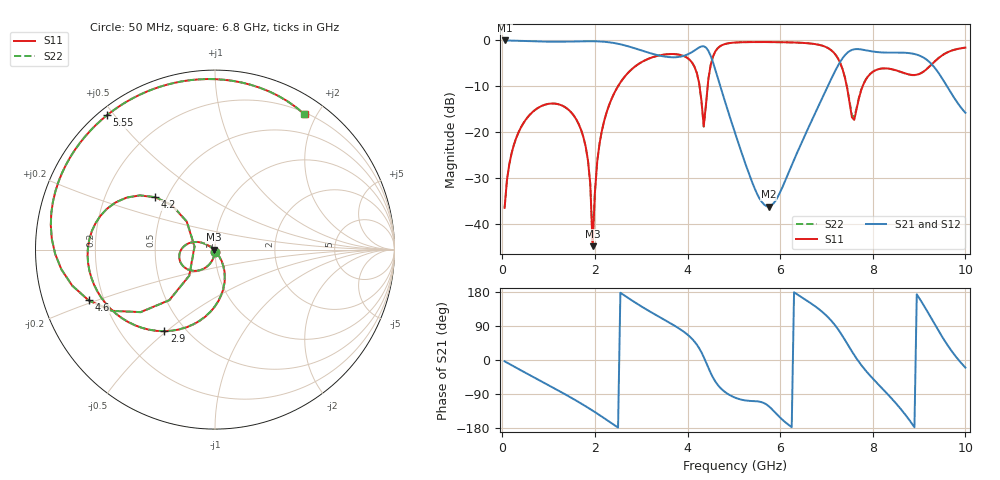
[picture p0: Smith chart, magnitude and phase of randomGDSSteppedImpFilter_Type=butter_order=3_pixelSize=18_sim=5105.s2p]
! freq	dB(S11)	phase(S11)	dB(S12)	phase(S12)
!  dB(S21)	phase(S21)	dB(S22)	phase(S22)
!S-par simulation data
#  GHz  S  DB  R 50
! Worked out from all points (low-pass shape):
!   200 points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, 50 MHz to 10 GHz, reference 50 ohm
!   highest |S21| = -0.01 dB at 50 MHz (marker M1); lowest = -36.2 dB at 5.75 GHz (marker M2)
!   |S21| within 3 dB of the highest: start of sweep to 3.274 GHz; 7.418 GHz to 8.917 GHz (1.499 GHz wide, 18.4 % of centre) (the widest 2 of 3)
!   lowest |S11| = -44.8 dB at 1.95 GHz (marker M3), VSWR 1.01, Z = 49.4 - j0.12 ohm
!   |S11| at or under -10 dB: start of sweep to 2.498 GHz; 4.26 GHz to 4.435 GHz (175.7 MHz wide, 4.04 % of centre); 7.438 GHz to 7.782 GHz (343.5 MHz wide, 4.51 % of centre)
!   |S22| runs from -43.9 to -0.3 dB; largest |S21 - S12| = 0
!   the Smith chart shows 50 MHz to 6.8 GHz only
!   S11 on the Smith chart (normalised r, x): 50 MHz: 1.00, -0.03; 2.9 GHz: 0.39, -0.49; 4.2 GHz: 0.43, +0.31; 4.6 GHz: 0.14, -0.19; 5.55 GHz: 0.02, +0.48; 6.8 GHz: 0.22, +1.84
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0.05  -36.50 -93.1  -0.01 -3.5  -0.01 -3.5  -36.50 -93.1
0.65  -15.64 -134.1  -0.18 -43.7  -0.18 -43.7  -15.64 -134.1
1.75  -21.03 153.2  -0.19 -118.3  -0.19 -118.3  -21.02 153.6
1.9  -31.30 148.1  -0.17 -129.6  -0.17 -129.6  -31.25 149.8
1.95  -44.85 -167.8  -0.18 -133.5  -0.18 -133.5  -43.86 -164.0
2.2  -17.53 -66.5  -0.29 -153.5  -0.29 -153.5  -17.53 -66.9
2.9  -5.43 -121.8  -1.84 149.3  -1.84 149.3  -5.43 -121.9
3.4  -3.24 -157.3  -3.32 113.0  -3.32 113.0  -3.24 -157.4
4.2  -7.08 138.8  -1.85 40.7  -1.85 40.7  -7.08 138.6
4.35  -18.74 171.7  -1.27 7.7  -1.27 7.7  -18.81 171.6
4.6  -2.40 -158.1  -6.37 -56.7  -6.37 -56.7  -2.40 -158.1
5.05  -0.44 156.6  -20.90 -100.4  -20.90 -100.4  -0.44 156.6
5.55  -0.35 128.7  -34.40 -109.8  -34.40 -109.8  -0.35 128.8
5.75  -0.36 118.7  -36.20 -121.6  -36.20 -121.6  -0.36 118.7
6.7  -0.72 64.2  -17.07 146.6  -17.07 146.6  -0.72 64.3
6.8  -0.88 56.5  -14.91 137.7  -14.91 137.7  -0.87 56.6
7.35  -6.36 -5.3  -3.84 62.7  -3.84 62.7  -6.31 -4.5
7.65  -15.03 55.7  -1.89 3.8  -1.89 3.8  -14.72 53.2
8.35  -6.16 -1.7  -2.66 -93.9  -2.66 -93.9  -6.17 -3.3
8.9  -7.54 -84.3  -2.96 -177.5  -2.96 -177.5  -7.57 -86.9
9.4  -4.03 165.6  -6.79 81.3  -6.79 81.3  -4.00 164.4
10  -1.57 68.9  -15.76 -20.1  -15.76 -20.1  -1.57 68.9
